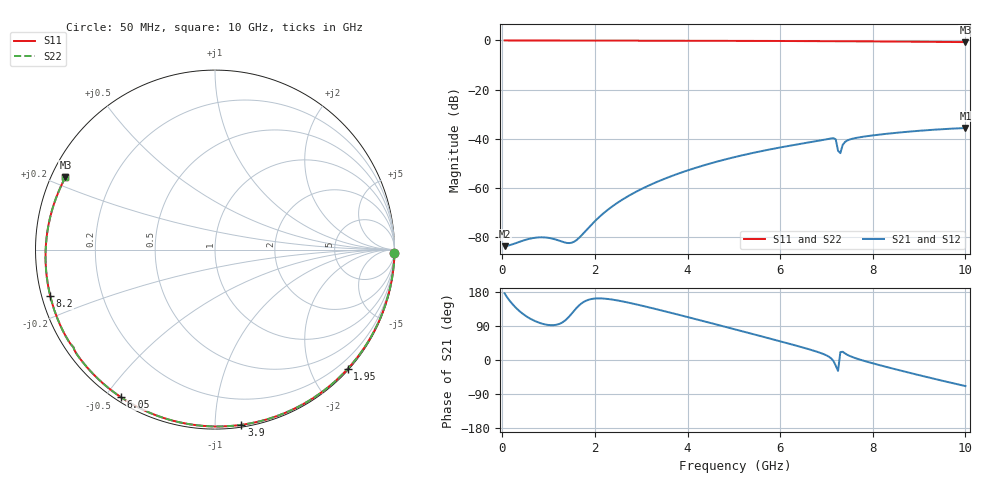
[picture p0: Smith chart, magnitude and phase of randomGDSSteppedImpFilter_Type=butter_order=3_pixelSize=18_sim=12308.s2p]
! freq	dB(S11)	phase(S11)	dB(S12)	phase(S12)
!  dB(S21)	phase(S21)	dB(S22)	phase(S22)
!S-par simulation data
#  GHz  S  DB  R 50
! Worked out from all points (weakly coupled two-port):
!   200 points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, 50 MHz to 10 GHz, reference 50 ohm
!   highest |S21| = -35.59 dB at 10 GHz (marker M1); lowest = -83.6 dB at 50 MHz (marker M2)
!   lowest |S11| = -0.7 dB at 10 GHz (marker M3), VSWR 25.89, Z = 2.03 + j11.4 ohm
!   |S11| at or under -10 dB: nowhere
!   |S22| runs from -0.7 to 0.0 dB; largest |S21 - S12| = 0
!   S11 on the Smith chart (normalised r, x): 50 MHz: open; 1.95 GHz: 0.02, -2.61; 3.9 GHz: 0.02, -1.16; 6.05 GHz: 0.02, -0.55; 8.2 GHz: 0.02, -0.14; 10 GHz: 0.04, +0.23
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0.05  -0.00 -1.1  -83.61 176.1  -83.61 176.1  -0.00 -1.1
0.8  -0.02 -17.5  -80.02 98.2  -80.02 98.2  -0.02 -17.5
1.65  -0.04 -35.6  -80.37 143.1  -80.37 143.1  -0.04 -35.6
1.75  -0.05 -37.8  -78.43 152.7  -78.43 152.7  -0.05 -37.7
1.95  -0.05 -42.0  -74.37 161.5  -74.37 161.5  -0.05 -41.9
2.25  -0.06 -48.2  -69.24 161.5  -69.24 161.5  -0.06 -48.2
2.55  -0.07 -54.4  -65.19 155.7  -65.19 155.7  -0.07 -54.4
3.4  -0.09 -71.6  -57.01 131.9  -57.01 131.9  -0.09 -71.6
3.9  -0.11 -81.4  -53.46 116.5  -53.46 116.5  -0.11 -81.4
5.05  -0.16 -103.6  -47.25 80.1  -47.25 80.1  -0.16 -103.5
6.05  -0.22 -122.4  -43.32 47.7  -43.32 47.7  -0.22 -122.4
6.7  -0.27 -134.8  -41.20 25.5  -41.20 25.5  -0.27 -134.7
7.15  -0.31 -143.5  -39.72 -2.4  -39.72 -2.4  -0.31 -143.5
7.2  -0.33 -144.6  -40.20 -14.9  -40.20 -14.9  -0.34 -144.5
7.25  -0.37 -145.4  -44.81 -28.8  -44.81 -28.8  -0.37 -145.4
7.3  -0.36 -146.1  -45.80 20.8  -45.80 20.8  -0.36 -146.1
7.35  -0.34 -147.1  -42.46 21.8  -42.46 21.8  -0.34 -147.1
7.45  -0.34 -149.1  -40.65 13.8  -40.65 13.8  -0.34 -149.1
8.2  -0.41 -164.3  -38.14 -15.3  -38.14 -15.3  -0.41 -164.3
8.35  -0.43 -167.4  -37.83 -20.1  -37.83 -20.1  -0.43 -167.4
9.2  -0.54 173.8  -36.43 -45.9  -36.43 -45.9  -0.54 173.9
10  -0.67 154.2  -35.59 -68.8  -35.59 -68.8  -0.67 154.3
